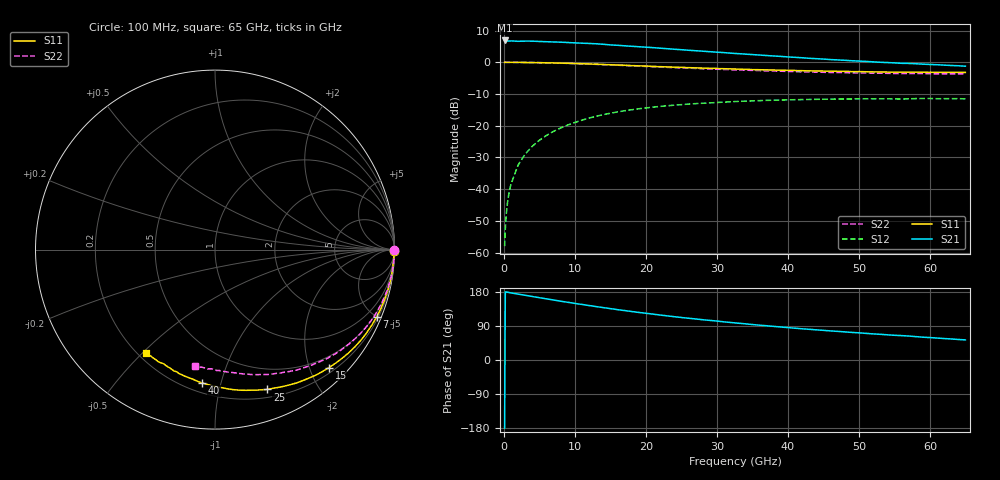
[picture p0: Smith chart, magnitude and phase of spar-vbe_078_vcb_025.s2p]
!ATF-54143
!s-parameters at Vbe=0.78V Last updated 17/05/01 AR.
# HZ S RI R 50
! Freq  S11  S21  S12  S22
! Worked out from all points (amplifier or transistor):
!   74 points, 100 MHz to 65 GHz, reference 50 ohm
!   highest |S21| = 6.9 dB at 100 MHz (marker M1)
!   |S21| within 3 dB of that: start of sweep to 25.49 GHz
!   unconditionally stable (mu >= 1): nowhere
!   at 4 GHz: K = 0.04, MSG = 16.6 dB, |S12| = -26.5 dB
!   at 29 GHz: K = 0.36, MSG = 8.1 dB, |S12| = -12.8 dB
!   at 65 GHz: K = 0.79, MSG = 5.2 dB, |S12| = -11.5 dB
!   S11 on the Smith chart (normalised r, x): 100 MHz: open; 7 GHz: 0.32, -4.98; 15 GHz: 0.29, -2.32; 25 GHz: 0.28, -1.40; 40 GHz: 0.26, -0.87; 65 GHz: 0.23, -0.51
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1e8  0.9966 -0.00613  -2.208 -0.00403  1.71e-05 0.00126  0.9988 -0.00453
2e8  0.9975 -0.0119  -2.164 0.00693  -4e-07 0.00236  0.9995 -0.00896
3e8  0.9972 -0.0177  -2.168 0.0192  8.33e-05 0.00356  0.9993 -0.0129
4e8  0.9969 -0.0228  -2.15 0.0318  7.52e-05 0.0048  0.9993 -0.0182
5e8  0.9966 -0.0289  -2.166 0.0439  0.000144 0.00603  0.9992 -0.0227
7e8  0.9961 -0.0402  -2.166 0.0685  0.00031 0.00842  0.9989 -0.032
1e9  0.995 -0.0576  -2.171 0.1126  0.000551 0.012  0.9982 -0.0454
2e9  0.9887 -0.1139  -2.129 0.2328  0.00221 0.0239  0.993 -0.0907
3e9  0.9784 -0.1696  -2.129 0.3444  0.00488 0.0354  0.9851 -0.1349
4e9  0.9637 -0.224  -2.104 0.4668  0.00852 0.0467  0.9743 -0.1778
7e9  0.9008 -0.3752  -1.942 0.7718  0.0251 0.0776  0.9282 -0.2992
1.1e10  0.78 -0.5409  -1.669 1.103  0.0566 0.1086  0.8395 -0.4344
1.3e10  0.7074 -0.6061  -1.519 1.235  0.0749 0.1194  0.7886 -0.4891
1.5e10  0.635 -0.6576  -1.341 1.313  0.0943 0.1261  0.734 -0.536
1.9e10  0.4889 -0.7301  -1.02 1.432  0.1308 0.1308  0.6243 -0.6067
2.2e10  0.385 -0.7612  -0.7999 1.465  0.1557 0.1281  0.5463 -0.6403
2.5e10  0.291 -0.779  -0.5953 1.462  0.1771 0.1218  0.4729 -0.6656
3.3e10  0.0741 -0.7762  -0.1694 1.357  0.2222 0.0949  0.3022 -0.6952
4e10  -0.0715 -0.7433  0.0953 1.211  0.2474 0.0633  0.1815 -0.6941
4.4e10  -0.1401 -0.7164  0.2063 1.121  0.2569 0.0443  0.1226 -0.6885
5.5e10  -0.2832 -0.6381  0.4095 0.8876  0.2648 -0.00593  -0.0124 -0.6652
6.5e10  -0.3858 -0.5733  0.5214 0.6933  0.2604 -0.0477  -0.1115 -0.6465
